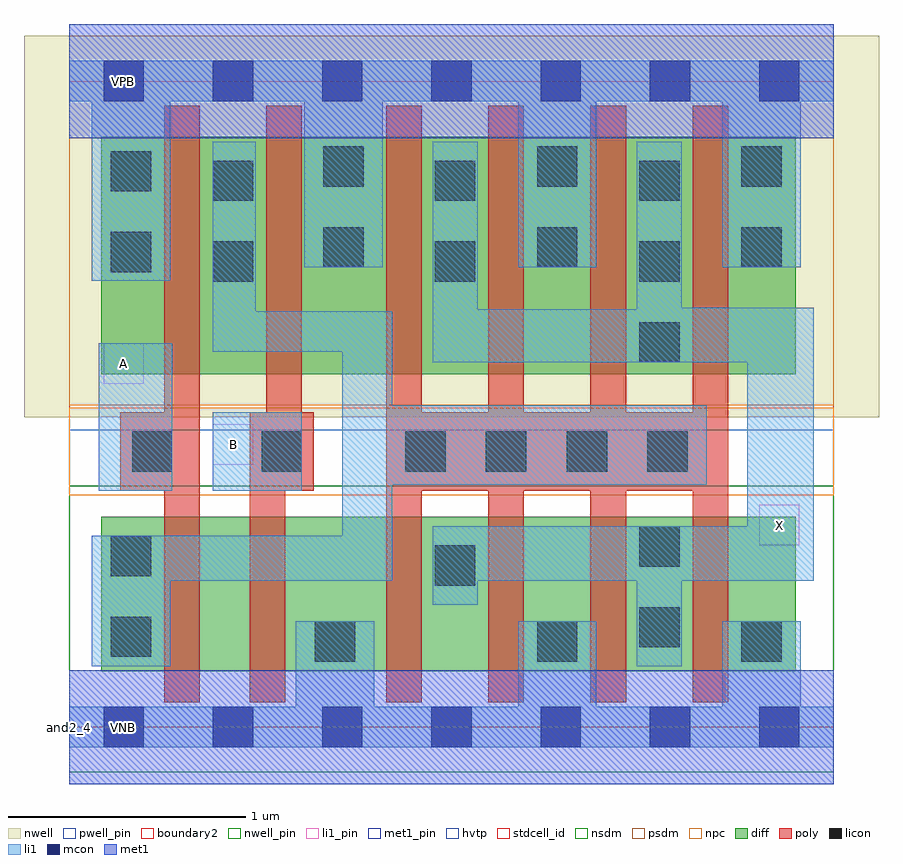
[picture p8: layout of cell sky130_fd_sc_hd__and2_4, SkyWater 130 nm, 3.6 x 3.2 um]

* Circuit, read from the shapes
.subckt sky130_fd_sc_hd__and2_4 A B VGND VNB VPB VPWR X
XM1 n1 A n2 VNB sky130_fd_pr__nfet_01v8 w=0.65 l=0.15
XM2 VGND B n1 VNB sky130_fd_pr__nfet_01v8 w=0.65 l=0.15
XM3 X n2 VGND VNB sky130_fd_pr__nfet_01v8 w=0.65 l=0.15 m=4
XM4 n2 A VPWR VPB sky130_fd_pr__pfet_01v8_hvt w=1 l=0.15
XM5 VPWR B n2 VPB sky130_fd_pr__pfet_01v8_hvt w=1 l=0.15
XM6 X n2 VPWR VPB sky130_fd_pr__pfet_01v8_hvt w=1 l=0.15 m=4
.ends

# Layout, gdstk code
import gdstk
lib = gdstk.Library(unit=1e-6, precision=1e-09)
def R(c, l, rs):  # rectangles x0, y0, x1, y1
    for r in rs: c.add(gdstk.rectangle(r[:2], r[2:], *l))
def A(c, l, x, y, w, h, nx, ny, dx, dy):  # array of equal rectangles
    R(c, l, [(x+i*dx, y+j*dy, x+i*dx+w, y+j*dy+h) for i in range(nx) for j in range(ny)])
def P(c, l, *ps):  # polygons
    for p in ps: c.add(gdstk.Polygon(p, *l))
nwell_pin = (64, 16)
nwell = (64, 20)
diff = (65, 20)
poly = (66, 20)
licon = (66, 44)
li1_pin = (67, 16)
li1 = (67, 20)
mcon = (67, 44)
met1_pin = (68, 16)
met1 = (68, 20)
hvtp = (78, 44)
stdcell_id = (81, 4)
nsdm = (93, 44)
psdm = (94, 20)
npc = (95, 20)
pwell_pin = (122, 16)
boundary2 = (236, 0)

sky130_fd_sc_hd__and2_4 = lib.new_cell('sky130_fd_sc_hd__and2_4')
R(sky130_fd_sc_hd__and2_4, nwell_pin, [(0.145,2.635,0.315,2.805)])
R(sky130_fd_sc_hd__and2_4, nwell, [(-0.19,1.305,3.41,2.91)])
R(sky130_fd_sc_hd__and2_4, diff, [(0.135,0.235,3.06,0.885), (0.135,1.485,3.06,2.485)])
P(sky130_fd_sc_hd__and2_4, poly, [(0.55,2.615),(0.4,2.615),(0.4,1.325),(0.215,1.325),(0.215,0.995),(0.4,0.995),(0.4,0.105),(0.55,0.105)],
  [(1.03,1.325),(0.98,1.325),(0.98,2.615),(0.83,2.615),(0.83,1.325),(0.76,1.325),(0.76,0.105),(0.91,0.105),(0.91,0.995),(1.03,0.995)],
  [(2.775,2.615),(2.625,2.615),(2.625,1.325),(2.345,1.325),(2.345,2.615),(2.195,2.615),(2.195,1.325),(1.915,1.325),(1.915,2.615),(1.765,2.615),(1.765,1.325),(1.485,1.325),(1.485,2.615),(1.335,2.615),(1.335,0.105),(1.485,0.105),(1.485,0.995),(1.765,0.995),(1.765,0.105),(1.915,0.105),(1.915,0.995),(2.195,0.995),(2.195,0.105),(2.345,0.105),(2.345,0.995),(2.625,0.995),(2.625,0.105),(2.775,0.105)])
A(sky130_fd_sc_hd__and2_4, licon, 1.415, 1.075, 0.17, 0.17, 4, 1, 0.34, 0)
A(sky130_fd_sc_hd__and2_4, licon, 2.4, 1.535, 0.17, 0.17, 1, 3, 0, 0.34)
R(sky130_fd_sc_hd__and2_4, licon, [(1.035,0.275,1.205,0.445), (1.97,0.275,2.14,0.445), (2.83,0.275,3,0.445), (0.175,0.295,0.345,0.465), (2.4,0.335,2.57,0.505), (1.54,0.595,1.71,0.765), (0.175,0.635,0.345,0.805), (2.4,0.675,2.57,0.845), (0.265,1.075,0.435,1.245), (0.81,1.075,0.98,1.245), (0.605,1.875,0.775,2.045), (1.54,1.875,1.71,2.045), (0.175,1.915,0.345,2.085), (1.07,1.935,1.24,2.105), (1.97,1.935,2.14,2.105), (2.83,1.935,3,2.105), (0.605,2.215,0.775,2.385), (1.54,2.215,1.71,2.385), (0.175,2.255,0.345,2.425), (1.07,2.275,1.24,2.445), (1.97,2.275,2.14,2.445), (2.83,2.275,3,2.445)])
R(sky130_fd_sc_hd__and2_4, li1_pin, [(2.905,0.765,3.075,0.935), (0.605,1.105,0.775,1.275), (0.145,1.445,0.315,1.615)])
R(sky130_fd_sc_hd__and2_4, li1, [(0.125,0.995,0.435,1.615), (0.605,0.995,0.98,1.325)])
P(sky130_fd_sc_hd__and2_4, li1, [(3.22,0.085),(3.08,0.085),(3.08,0.445),(2.75,0.445),(2.75,0.085),(2.22,0.085),(2.22,0.445),(1.89,0.445),(1.89,0.085),(1.285,0.085),(1.285,0.445),(0.955,0.445),(0.955,0.085),(0,0.085),(0,-0.085),(3.22,-0.085)],
  [(3.22,2.805),(0,2.805),(0,2.635),(0.095,2.635),(0.095,1.88),(0.425,1.88),(0.425,2.635),(0.99,2.635),(0.99,1.935),(1.32,1.935),(1.32,2.635),(1.89,2.635),(1.89,1.935),(2.22,1.935),(2.22,2.635),(2.75,2.635),(2.75,1.935),(3.08,1.935),(3.08,2.635),(3.22,2.635)],
  [(2.685,1.355),(1.36,1.355),(1.36,1.75),(0.785,1.75),(0.785,2.465),(0.605,2.465),(0.605,1.58),(1.15,1.58),(1.15,0.805),(0.095,0.805),(0.095,0.255),(0.425,0.255),(0.425,0.615),(1.36,0.615),(1.36,1.02),(2.685,1.02)],
  [(3.135,1.765),(2.58,1.765),(2.58,2.465),(2.39,2.465),(2.39,1.76),(1.72,1.76),(1.72,2.465),(1.53,2.465),(1.53,1.535),(2.855,1.535),(2.855,0.845),(1.53,0.845),(1.53,0.515),(1.72,0.515),(1.72,0.615),(2.39,0.615),(2.39,0.255),(2.58,0.255),(2.58,0.615),(3.135,0.615)])
A(sky130_fd_sc_hd__and2_4, mcon, 0.145, -0.085, 0.17, 0.17, 7, 2, 0.46, 2.72)
R(sky130_fd_sc_hd__and2_4, met1_pin, [(0.145,-0.085,0.315,0.085), (0.145,2.635,0.315,2.805)])
R(sky130_fd_sc_hd__and2_4, hvtp, [(0,1.25,3.22,2.72)])
R(sky130_fd_sc_hd__and2_4, stdcell_id, [(0,0,3.22,2.72)])
R(sky130_fd_sc_hd__and2_4, nsdm, [(0,-0.19,3.22,1.015)])
R(sky130_fd_sc_hd__and2_4, psdm, [(0,1.355,3.22,2.91)])
R(sky130_fd_sc_hd__and2_4, npc, [(0,0.975,3.22,1.345)])
R(sky130_fd_sc_hd__and2_4, pwell_pin, [(0.145,-0.085,0.315,0.085)])
R(sky130_fd_sc_hd__and2_4, boundary2, [(0,0,3.22,2.72)])
sky130_fd_sc_hd__and2_4.add(gdstk.FlexPath([(0,2.72),(3.22,2.72)], 0.48, ends="flush", simple_path=True, layer=68, datatype=20))  # met1
sky130_fd_sc_hd__and2_4.add(gdstk.FlexPath([(0,0),(3.22,0)], 0.48, ends="flush", simple_path=True, layer=68, datatype=20))  # met1
sky130_fd_sc_hd__and2_4.add(gdstk.Label('X', (2.99,0.85), layer=67, texttype=5))
sky130_fd_sc_hd__and2_4.add(gdstk.Label('B', (0.69,1.19), layer=67, texttype=5))
sky130_fd_sc_hd__and2_4.add(gdstk.Label('A', (0.23,1.53), layer=67, texttype=5))
sky130_fd_sc_hd__and2_4.add(gdstk.Label('VNB', (0.23,0), layer=64, texttype=59))
sky130_fd_sc_hd__and2_4.add(gdstk.Label('VPB', (0.23,2.72), layer=64, texttype=5))
sky130_fd_sc_hd__and2_4.add(gdstk.Label('VGND', (0.23,0), layer=68, texttype=5))
sky130_fd_sc_hd__and2_4.add(gdstk.Label('VPWR', (0.23,2.72), layer=68, texttype=5))
sky130_fd_sc_hd__and2_4.add(gdstk.Label('and2_4', (0,0), layer=83, texttype=44))

lib.write_gds('sky130_fd_sc_hd__and2_4.gds')
